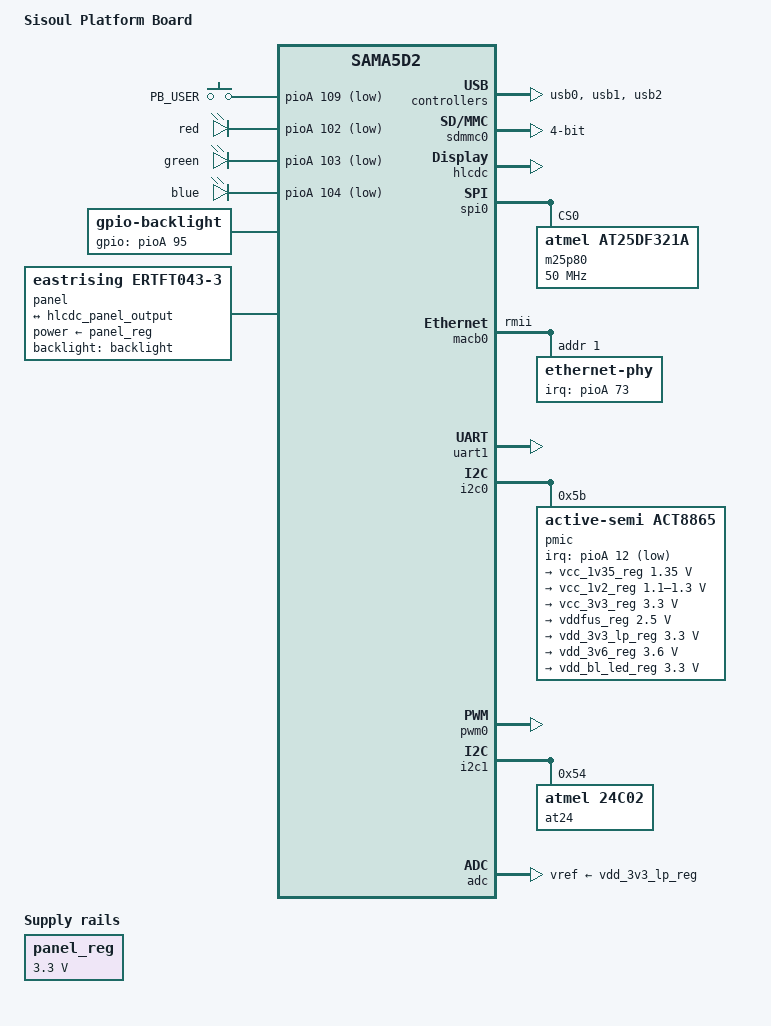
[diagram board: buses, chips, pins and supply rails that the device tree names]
/*
 * at91-sama5d2_xplained_common.dtsi - Device Tree file for SAMA5D2 Xplained board
 *
 *  Copyright (C) 2016 Atmel,
 *                2016 Nicolas Ferre <nicolas.ferre@atmel.com>
 *		  2016 Ludovic.Desroches <ludovic.desroches@atmel.com>
 *
 * This file is dual-licensed: you can use it either under the terms
 * of the GPL or the X11 license, at your option. Note that this dual
 * licensing only applies to this file, and not this project as a
 * whole.
 *
 *  a) This file is free software; you can redistribute it and/or
 *     modify it under the terms of the GNU General Public License as
 *     published by the Free Software Foundation; either version 2 of the
 *     License, or (at your option) any later version.
 *
 *     This file is distributed in the hope that it will be useful,
 *     but WITHOUT ANY WARRANTY; without even the implied warranty of
 *     MERCHANTABILITY or FITNESS FOR A PARTICULAR PURPOSE.  See the
 *     GNU General Public License for more details.
 *
 * Or, alternatively,
 *
 *  b) Permission is hereby granted, free of charge, to any person
 *     obtaining a copy of this software and associated documentation
 *     files (the "Software"), to deal in the Software without
 *     restriction, including without limitation the rights to use,
 *     copy, modify, merge, publish, distribute, sublicense, and/or
 *     sell copies of the Software, and to permit persons to whom the
 *     Software is furnished to do so, subject to the following
 *     conditions:
 *
 *     The above copyright notice and this permission notice shall be
 *     included in all copies or substantial portions of the Software.
 *
 *     THE SOFTWARE IS PROVIDED "AS IS", WITHOUT WARRANTY OF ANY KIND,
 *     EXPRESS OR IMPLIED, INCLUDING BUT NOT LIMITED TO THE WARRANTIES
 *     OF MERCHANTABILITY, FITNESS FOR A PARTICULAR PURPOSE AND
 *     NONINFRINGEMENT. IN NO EVENT SHALL THE AUTHORS OR COPYRIGHT
 *     HOLDERS BE LIABLE FOR ANY CLAIM, DAMAGES OR OTHER LIABILITY,
 *     WHETHER IN AN ACTION OF CONTRACT, TORT OR OTHERWISE, ARISING
 *     FROM, OUT OF OR IN CONNECTION WITH THE SOFTWARE OR THE USE OR
 *     OTHER DEALINGS IN THE SOFTWARE.
 */
/dts-v1/;
#include "sama5d2.dtsi"
#include "sama5d2-pinfunc.h"
#include <dt-bindings/mfd/atmel-flexcom.h>
#include <dt-bindings/gpio/gpio.h>

/ {
	model = "Sisoul Platform Board";
	compatible = "atmel,sama5d2-sisoul-platfrom", "atmel,sama5d2", "atmel,sama5";

	chosen {
		stdout-path = "serial0:115200n8";
	};

	clocks {
		slow_xtal {
			clock-frequency = <32768>;
		};

		main_xtal {
			clock-frequency = <12000000>;
		};
	};

	ahb {
		usb0: gadget@00300000 {
			atmel,vbus-gpio = <&pioA 22 GPIO_ACTIVE_HIGH>;
			pinctrl-names = "default";
			pinctrl-0 = <&pinctrl_usba_vbus>;
			status = "okay";
		};

		usb1: ohci@00400000 {
			num-ports = <3>;
			atmel,vbus-gpio = <0 /* &pioA 41 GPIO_ACTIVE_HIGH */
					   &pioA 25 GPIO_ACTIVE_HIGH
					   0
					  >;
			pinctrl-names = "default";
			pinctrl-0 = <&pinctrl_usb_default>;
			status = "okay";
		};

		usb2: ehci@00500000 {
			status = "okay";
		};

		sdmmc0: sdio-host@a0000000 {
			bus-width = <4>;
			pinctrl-names = "default";
			pinctrl-0 = <&pinctrl_sdmmc0_default>;
			status = "okay";
		};

		apb {
			hlcdc: hlcdc@f0000000 {
				status = "okay";
                pinctrl-names = "default";
                pinctrl-0 = <&pinctrl_lcd_base &pinctrl_lcd_rgb888>;

				hlcdc-display-controller {
					port@0 {
						hlcdc_panel_output: endpoint@0 {
							reg = <0>;
							remote-endpoint = <&panel_input>;
						};
					};
				};
			};

			pmc: pmc@f0014000 {
				pmc_fast_restart {
					compatible = "atmel,sama5d2-pmc-fast-startup";
					#address-cells = <1>;
					#size-cells = <0>;

					atmel,wakeup-rtc-timer;

					wkpin: input@0 {
						reg = <0>;
					};

					gmac_wol: input@10 {
						reg = <10>;
						atmel,wakeup-active-high;
					};
				};
			};

			spi0: spi@f8000000 {
				pinctrl-names = "default";
				pinctrl-0 = <&pinctrl_spi0_default>;
				status = "okay";

				m25p80@0 {
					compatible = "atmel,at25df321a";
					reg = <0>;
					spi-max-frequency = <50000000>;
				};
			};

			macb0: ethernet@f8008000 {
				pinctrl-names = "default";
				pinctrl-0 = <&pinctrl_macb0_default &pinctrl_macb0_phy_irq>;
				phy-mode = "rmii";
				status = "okay";

				ethernet-phy@1 {
					reg = <0x1>;
					interrupt-parent = <&pioA>;
					interrupts = <73 IRQ_TYPE_LEVEL_LOW>;
				};
			};

			uart1: serial@f8020000 {
				pinctrl-names = "default";
				pinctrl-0 = <&pinctrl_uart1_default>;
				atmel,use-dma-rx;
				atmel,use-dma-tx;
				status = "okay";
			};

			i2c0: i2c@f8028000 {
				dmas = <0>, <0>;
				pinctrl-names = "default";
				pinctrl-0 = <&pinctrl_i2c0_default>;
				i2c-sda-hold-time-ns = <350>;
				status = "okay";

				pmic@5b {
					compatible = "active-semi,act8865";
					reg = <0x5b>;
					active-semi,irq_gpios = <&pioA 12 GPIO_ACTIVE_LOW>;
					status = "okay";
					pinctrl-names = "default";
					pinctrl-0 = <&pinctrl_pmic_irq_default>;

					regulators {
						vcc_1v35_reg: DCDC_REG1 {
							regulator-name = "VDD_1V35";
							regulator-min-microvolt = <1350000>;
							regulator-max-microvolt = <1350000>;
							regulator-always-on;
						};

						vcc_1v2_reg: DCDC_REG2 {
							regulator-name = "VDD_1V2";
							regulator-min-microvolt = <1100000>;
							regulator-max-microvolt = <1300000>;
							regulator-always-on;
						};

						vcc_3v3_reg: DCDC_REG3 {
							regulator-name = "VDD_3V3";
							regulator-min-microvolt = <3300000>;
							regulator-max-microvolt = <3300000>;
							regulator-always-on;
						};

						vddfus_reg: LDO_REG1 {
							regulator-name = "VDDFUSE";
							regulator-min-microvolt = <2500000>;
							regulator-max-microvolt = <2500000>;
							regulator-always-on;
						};

						vdd_3v3_lp_reg: LDO_REG2 {
							regulator-name = "VDD_3V3_LP";
							regulator-min-microvolt = <3300000>;
							regulator-max-microvolt = <3300000>;
							regulator-always-on;
						};

						vdd_3v6_reg: LDO_REG3 {
							regulator-name = "VDD_3V6";
							regulator-min-microvolt = <3600000>;
							regulator-max-microvolt = <3600000>;
							regulator-always-on;
						};

						vdd_bl_led_reg: LDO_REG4 {
							regulator-name = "VDD_BL_LED";
							regulator-min-microvolt = <3300000>;
							regulator-max-microvolt = <3300000>;
							regulator-always-on;
						};
					};
				};
			};

			pwm0: pwm@f802c000 {
				status = "okay";
			};

			shdwc@f8048010 {
				atmel,shdwc-debouncer = <976>;
				atmel,wakeup-rtc-timer;

				input@0 {
					reg = <0>;
					atmel,wakeup-type = "low";
				};
			};

			watchdog@f8048040 {
				status = "okay";
			};

			i2c1: i2c@fc028000 {
				dmas = <0>, <0>;
				pinctrl-names = "default";
				pinctrl-0 = <&pinctrl_i2c1_default>;
				status = "okay";

				at24@54 {
					compatible = "atmel,24c02";
					reg = <0x54>;
					pagesize = <16>;
				};
			};

			adc: adc@fc030000 {
				vddana-supply = <&vdd_3v3_lp_reg>;
				vref-supply = <&vdd_3v3_lp_reg>;
				pinctrl-names = "default";
				pinctrl-0 = <&pinctrl_adc_touch_default>;
				status = "okay";
			};

			pinctrl@fc038000 {
				pinctrl_pmic_irq_default: pmic_irq_default {
					pinmux = <PIN_PA12__GPIO>;
					bias-disable;
				};

				pinctrl_classd_default: classd_default {
					pinmux = <PIN_PA28__CLASSD_L0>,
                         <PIN_PA29__CLASSD_L1>,
                         <PIN_PA30__CLASSD_L2>,
                         <PIN_PA31__CLASSD_L3>,
                         <PIN_PB1__CLASSD_R0>,
						 <PIN_PB2__CLASSD_R1>,
						 <PIN_PB3__CLASSD_R2>,
						 <PIN_PB4__CLASSD_R3>;
					bias-pull-up;
				};

				pinctrl_i2c0_default: i2c0_default {
					pinmux = <PIN_PC27__TWD0>,
						 <PIN_PC28__TWCK0>;
					bias-disable;
				};

				pinctrl_i2c1_default: i2c1_default {
					pinmux = <PIN_PD4__TWD1>,
						 <PIN_PD5__TWCK1>;
					bias-disable;
				};

				pinctrl_key_gpio_default: key_gpio_default {
					pinmux = <PIN_PD9__GPIO>;
					bias-pull-up;
				};

				pinctrl_lcd_base: pinctrl_lcd_base {
					pinmux = <PIN_PC4__LCDDISP>,
                         <PIN_PC5__LCDVSYNC>,
						 <PIN_PC6__LCDHSYNC>,
						 <PIN_PC7__LCDPCK>,
						 <PIN_PC8__LCDDEN>;
					bias-disable;
				};

				pinctrl_lcd_bl: pinctrl_lcd_bl {
					pinmux = <PIN_PC31__GPIO>;
					bias-disable;
				};

				pinctrl_lcd_rgb888: pinctrl_lcd_rgb888 {
					pinmux = <PIN_PB11__LCDDAT0>,
                         <PIN_PB12__LCDDAT1>,
                         <PIN_PB13__LCDDAT2>,
                         <PIN_PB14__LCDDAT3>,
                         <PIN_PB15__LCDDAT4>,
                         <PIN_PB16__LCDDAT5>,
                         <PIN_PB17__LCDDAT6>,
                         <PIN_PB18__LCDDAT7>,
                         <PIN_PB19__LCDDAT8>,
                         <PIN_PB20__LCDDAT9>,
                         <PIN_PB21__LCDDAT10>,
                         <PIN_PB22__LCDDAT11>,
                         <PIN_PB23__LCDDAT12>,
                         <PIN_PB24__LCDDAT13>,
                         <PIN_PB25__LCDDAT14>,
                         <PIN_PB26__LCDDAT15>,
                         <PIN_PB27__LCDDAT16>,
                         <PIN_PB28__LCDDAT17>,
                         <PIN_PB29__LCDDAT18>,
                         <PIN_PB30__LCDDAT19>,
                         <PIN_PB31__LCDDAT20>,
                         <PIN_PC0__LCDDAT21>,
                         <PIN_PC1__LCDDAT22>,
                         <PIN_PC2__LCDDAT23>;
					bias-disable;
				};

				pinctrl_led_gpio_default: led_gpio_default {
					pinmux = <PIN_PD6__GPIO>,
						 <PIN_PD7__GPIO>,
						 <PIN_PD8__GPIO>;
                    drive-strength = <3>;
					bias-pull-up;
				};

				pinctrl_macb0_default: macb0_default {
					pinmux = <PIN_PC10__GTXCK>,
						 <PIN_PC11__GTXEN>,
						 <PIN_PC12__GRXDV>,
						 <PIN_PC13__GRXER>,
						 <PIN_PC14__GRX0>,
						 <PIN_PC15__GRX1>,
						 <PIN_PC16__GTX0>,
						 <PIN_PC17__GTX1>,
						 <PIN_PC18__GMDC>,
						 <PIN_PC19__GMDIO>;
					bias-disable;
				};

				pinctrl_macb0_phy_irq: macb0_phy_irq {
					pinmux = <PIN_PC9__GPIO>;
					bias-disable;
				};

				pinctrl_sdmmc0_default: sdmmc0_default {
					cmd_data {
						pinmux = <PIN_PA1__SDMMC0_CMD>,
							 <PIN_PA2__SDMMC0_DAT0>,
							 <PIN_PA3__SDMMC0_DAT1>,
							 <PIN_PA4__SDMMC0_DAT2>,
							 <PIN_PA5__SDMMC0_DAT3>;
						bias-pull-up;
					};

					conf-ck_cd {
						pinmux = <PIN_PA0__SDMMC0_CK>,
							 <PIN_PA13__SDMMC0_CD>;
						bias-disable;
					};
				};

				pinctrl_spi0_default: spi0_default {
					pinmux = <PIN_PA14__SPI0_SPCK>,
						 <PIN_PA15__SPI0_MOSI>,
						 <PIN_PA16__SPI0_MISO>,
						 <PIN_PA17__SPI0_NPCS0>;
					bias-disable;
				};

				pinctrl_uart1_default: uart1_default {
					pinmux = <PIN_PD2__URXD1>,
						 <PIN_PD3__UTXD1>;
					bias-disable;
				};

				pinctrl_usb_default: usb_default {
					pinmux = <PIN_PA25__GPIO>;
					bias-disable;
				};

				pinctrl_usba_vbus: usba_vbus {
					pinmux = <PIN_PA22__GPIO>;
					bias-disable;
				};

				pinctrl_adc_touch_default: adc_touch_default {
					pinmux = <PIN_PD19__GPIO>,
                        <PIN_PD20__GPIO>,
                        <PIN_PD21__GPIO>,
                        <PIN_PD22__GPIO>;
					bias-disable;
				};

				pinctrl_backlight_default: backlight_default {
					pinmux = <PIN_PC31__GPIO>;
					bias-disable;
				};

			};

			classd: classd@fc048000 {
				pinctrl-names = "default";
				pinctrl-0 = <&pinctrl_classd_default>;
				atmel,pwm-type = "diff";
				atmel,non-overlap-time = <10>;
				status = "okay";
			};
		};
	};

	gpio_keys {
		compatible = "gpio-keys";

		pinctrl-names = "default";
		pinctrl-0 = <&pinctrl_key_gpio_default>;

		bp1 {
			label = "PB_USER";
			gpios = <&pioA 109 GPIO_ACTIVE_LOW>;
			linux,code = <0x104>;
		};
	};

	leds {
		compatible = "gpio-leds";
		pinctrl-names = "default";
		pinctrl-0 = <&pinctrl_led_gpio_default>;
		status = "okay";

		red {
			label = "red";
			gpios = <&pioA 102 GPIO_ACTIVE_LOW>;
			linux,default-trigger = "gpio";
		};

		green {
			label = "green";
			gpios = <&pioA 103 GPIO_ACTIVE_LOW>;
			linux,default-trigger = "gpio";
		};

		blue {
			label = "blue";
			gpios = <&pioA 104 GPIO_ACTIVE_LOW>;
			linux,default-trigger = "gpio";
		};
	};

	backlight: backlight {
		compatible = "gpio-backlight";
        gpios = <&pioA 95 GPIO_ACTIVE_HIGH>;
        default-on;
        pinctrl-names = "default";
        pinctrl-0 = <&pinctrl_backlight_default>;
		status = "okay";
	};

	panel: panel {
		compatible = "eastrising,ertft043-3", "simple-panel";
		backlight = <&backlight>;
		power-supply = <&panel_reg>;
		#address-cells = <1>;
		#size-cells = <0>;
		status = "okay";

		port@0 {
			reg = <0>;
			#address-cells = <1>;
			#size-cells = <0>;

			panel_input: endpoint@0 {
				reg = <0>;
				remote-endpoint = <&hlcdc_panel_output>;
			};
		};
	};

	panel_reg: panel_regulator {
		compatible = "regulator-fixed";
		regulator-name = "panel-power-supply";
		regulator-min-microvolt = <3300000>;
		regulator-max-microvolt = <3300000>;
		status = "okay";
	};
};
